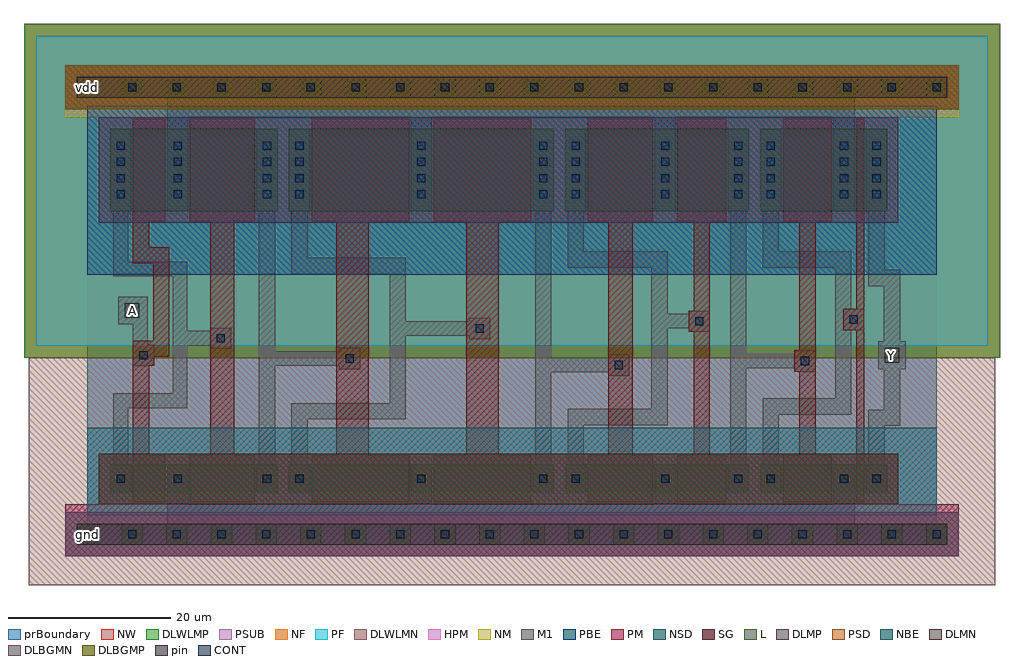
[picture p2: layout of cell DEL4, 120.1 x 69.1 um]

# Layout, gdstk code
import gdstk
lib = gdstk.Library(unit=1e-6, precision=1e-09)
def R(c, l, rs):  # rectangles x0, y0, x1, y1
    for r in rs: c.add(gdstk.rectangle(r[:2], r[2:], *l))
def A(c, l, x, y, w, h, nx, ny, dx, dy):  # array of equal rectangles
    R(c, l, [(x+i*dx, y+j*dy, x+i*dx+w, y+j*dy+h) for i in range(nx) for j in range(ny)])
def P(c, l, *ps):  # polygons
    for p in ps: c.add(gdstk.Polygon(p, *l))
L = (3, 0)
NM = (7, 0)
SG = (8, 0)
PSD = (9, 0)
CONT = (11, 0)
M1 = (13, 0)
NF = (25, 0)
PF = (26, 0)
NSD = (28, 0)
HPM = (33, 0)
PM = (35, 0)
NW = (36, 0)
pin = (48, 1)
PSUB = (140, 0)
PBE = (146, 0)
NBE = (147, 0)
DLWLMP = (150, 0)
DLWLMN = (151, 0)
DLMP = (157, 0)
DLMN = (158, 0)
DLBGMP = (177, 0)
DLBGMN = (178, 0)
prBoundary = (235, 0)

del4 = lib.new_cell('DEL4')
A(del4, L, -1.3, -1.3, 2.6, 2.6, 20, 2, 5.5, 55)
R(del4, L, [(2.8,5.1,23.4,8.5), (24.8,5.1,57.4,8.5), (58.8,5.1,81.4,8.5), (82.8,5.1,98.4,8.5), (2.8,39.7,23.4,49.9), (24.8,39.7,57.4,49.9), (58.8,39.7,81.4,49.9), (82.8,39.7,98.4,49.9)])
R(del4, NM, [(-2.75,-2.7,107.25,2.7)])
P(del4, NM, [(1.4,38.3),(1.4,51.3),(-2.75,51.3),(-2.75,57.7),(107.25,57.7),(107.25,51.3),(99.8,51.3),(99.8,38.3)])
P(del4, SG, [(5.6,3.9),(5.6,23.8),(8.1,23.8),(8.1,33.3),(5.6,33.3),(5.6,51.1),(9.6,51.1),(9.6,38.5),(7.6,38.5),(7.6,35.3),(10.1,35.3),(10.1,21.8),(8.2,21.8),(8.2,20.7),(7.6,20.7),(7.6,9.7),(9.6,9.7),(9.6,3.9)],
  [(12.6,3.9),(12.6,9.7),(15.1,9.7),(15.1,38.5),(12.6,38.5),(12.6,51.1),(20.6,51.1),(20.6,38.5),(18.1,38.5),(18.1,9.7),(20.6,9.7),(20.6,3.9)],
  [(27.6,3.9),(27.6,9.7),(30.6,9.7),(30.6,38.5),(27.6,38.5),(27.6,51.1),(39.6,51.1),(39.6,38.5),(34.6,38.5),(34.6,9.7),(39.6,9.7),(39.6,3.9)],
  [(42.6,3.9),(42.6,9.7),(46.6,9.7),(46.6,38.5),(42.6,38.5),(42.6,51.1),(54.6,51.1),(54.6,38.5),(50.6,38.5),(50.6,9.7),(54.6,9.7),(54.6,3.9)],
  [(61.6,3.9),(61.6,9.7),(64.1,9.7),(64.1,38.5),(61.6,38.5),(61.6,51.1),(69.6,51.1),(69.6,38.5),(67.1,38.5),(67.1,9.7),(69.6,9.7),(69.6,3.9)],
  [(72.6,3.9),(72.6,9.7),(74.6,9.7),(74.6,24.9),(74,24.9),(74,27.5),(74.6,27.5),(74.6,38.5),(72.6,38.5),(72.6,51.1),(78.6,51.1),(78.6,38.5),(76.6,38.5),(76.6,9.7),(78.6,9.7),(78.6,3.9)],
  [(85.6,3.9),(85.6,9.7),(87.6,9.7),(87.6,20),(87,20),(87,22.6),(87.6,22.6),(87.6,38.5),(85.6,38.5),(85.6,51.1),(91.6,51.1),(91.6,38.5),(89.6,38.5),(89.6,9.7),(91.6,9.7),(91.6,3.9)],
  [(94.6,3.9),(94.6,25.1),(93,25.1),(93,27.7),(94.6,27.7),(94.6,51.1),(95.6,51.1),(95.6,3.9)])
R(del4, PSD, [(1.4,3.7,99.8,9.9), (-2.75,52.3,107.25,57.7)])
A(del4, CONT, -0.5, -0.5, 1, 1, 20, 2, 5.5, 55)
A(del4, CONT, 3.6, 41.3, 1, 1, 1, 4, 0, 2)
A(del4, CONT, 21.6, 41.3, 1, 1, 1, 4, 0, 2)
A(del4, CONT, 25.6, 41.3, 1, 1, 1, 4, 0, 2)
A(del4, CONT, 55.6, 41.3, 1, 1, 1, 4, 0, 2)
A(del4, CONT, 59.6, 41.3, 1, 1, 1, 4, 0, 2)
A(del4, CONT, 79.6, 41.3, 1, 1, 1, 4, 0, 2)
A(del4, CONT, 83.6, 41.3, 1, 1, 1, 4, 0, 2)
A(del4, CONT, 96.6, 41.3, 1, 1, 1, 4, 0, 2)
R(del4, CONT, [(3.6,6.3,4.6,7.3), (10.6,6.3,11.6,7.3), (10.6,6.3,11.6,7.3), (21.6,6.3,22.6,7.3), (25.6,6.3,26.6,7.3), (40.6,6.3,41.6,7.3), (40.6,6.3,41.6,7.3), (55.6,6.3,56.6,7.3), (59.6,6.3,60.6,7.3), (70.6,6.3,71.6,7.3), (70.6,6.3,71.6,7.3), (79.6,6.3,80.6,7.3), (83.6,6.3,84.6,7.3), (92.6,6.3,93.6,7.3), (92.6,6.3,93.6,7.3), (96.6,6.3,97.6,7.3), (64.9,20.3,65.9,21.3), (87.8,20.8,88.8,21.8), (31.8,21.1,32.8,22.1), (6.4,21.5,7.4,22.5), (15.9,23.6,16.9,24.6), (47.8,24.8,48.8,25.8), (74.8,25.7,75.8,26.7), (93.8,25.9,94.8,26.9), (10.6,41.3,11.6,42.3), (10.6,41.3,11.6,42.3), (40.6,41.3,41.6,42.3), (40.6,41.3,41.6,42.3), (70.6,41.3,71.6,42.3), (70.6,41.3,71.6,42.3), (92.6,41.3,93.6,42.3), (92.6,41.3,93.6,42.3), (10.6,43.3,11.6,44.3), (10.6,43.3,11.6,44.3), (40.6,43.3,41.6,44.3), (40.6,43.3,41.6,44.3), (70.6,43.3,71.6,44.3), (70.6,43.3,71.6,44.3), (92.6,43.3,93.6,44.3), (92.6,43.3,93.6,44.3), (10.6,45.3,11.6,46.3), (10.6,45.3,11.6,46.3), (40.6,45.3,41.6,46.3), (40.6,45.3,41.6,46.3), (70.6,45.3,71.6,46.3), (70.6,45.3,71.6,46.3), (92.6,45.3,93.6,46.3), (92.6,45.3,93.6,46.3), (10.6,47.3,11.6,48.3), (10.6,47.3,11.6,48.3), (40.6,47.3,41.6,48.3), (40.6,47.3,41.6,48.3), (70.6,47.3,71.6,48.3), (70.6,47.3,71.6,48.3), (92.6,47.3,93.6,48.3), (92.6,47.3,93.6,48.3)])
P(del4, M1, [(-1.3,-1.3),(-1.3,1.3),(9.8,1.3),(9.8,8.5),(12.4,8.5),(12.4,3.7),(39.8,3.7),(39.8,8.5),(42.4,8.5),(42.4,3.7),(69.8,3.7),(69.8,8.5),(72.4,8.5),(72.4,3.7),(91.8,3.7),(91.8,8.5),(94.4,8.5),(94.4,1.3),(105.8,1.3),(105.8,-1.3)],
  [(5.6,20.7),(5.6,25.8),(3.8,25.8),(3.8,29.2),(7.4,29.2),(7.4,23.3),(8.2,23.3),(8.2,20.7)],
  [(2.8,5.1),(2.8,8.5),(3.2,8.5),(3.2,17.3),(10.5,17.3),(10.5,31.7),(3.2,31.7),(3.2,39.7),(2.8,39.7),(2.8,49.9),(5.4,49.9),(5.4,39.7),(5,39.7),(5,33.5),(12.3,33.5),(12.3,25),(15.1,25),(15.1,25.4),(17.7,25.4),(17.7,22.8),(15.1,22.8),(15.1,23.2),(12.3,23.2),(12.3,15.5),(5,15.5),(5,8.5),(5.4,8.5),(5.4,5.1)],
  [(20.8,5.1),(20.8,8.5),(21.1,8.5),(21.1,39.7),(20.8,39.7),(20.8,49.9),(23.4,49.9),(23.4,39.7),(23.1,39.7),(23.1,22.5),(31,22.5),(31,22.9),(33.6,22.9),(33.6,20.3),(31,20.3),(31,20.7),(23.1,20.7),(23.1,8.5),(23.4,8.5),(23.4,5.1)],
  [(24.8,5.1),(24.8,8.5),(25.1,8.5),(25.1,16.1),(37.2,16.1),(37.2,32),(25.1,32),(25.1,39.7),(24.8,39.7),(24.8,49.9),(27.4,49.9),(27.4,39.7),(27.1,39.7),(27.1,34),(39.2,34),(39.2,26.2),(47,26.2),(47,26.6),(49.6,26.6),(49.6,24),(47,24),(47,24.4),(39.2,24.4),(39.2,14.1),(27.1,14.1),(27.1,8.5),(27.4,8.5),(27.4,5.1)],
  [(54.8,5.1),(54.8,8.5),(55.1,8.5),(55.1,39.7),(54.8,39.7),(54.8,49.9),(57.4,49.9),(57.4,39.7),(57.1,39.7),(57.1,21.7),(64.1,21.7),(64.1,22.1),(66.7,22.1),(66.7,19.5),(64.1,19.5),(64.1,19.9),(57.1,19.9),(57.1,8.5),(57.4,8.5),(57.4,5.1)],
  [(58.8,5.1),(58.8,8.5),(59.1,8.5),(59.1,15.4),(69.4,15.4),(69.4,32.8),(59.1,32.8),(59.1,39.7),(58.8,39.7),(58.8,49.9),(61.4,49.9),(61.4,39.7),(61.1,39.7),(61.1,34.8),(71.4,34.8),(71.4,27.1),(74,27.1),(74,27.5),(76.6,27.5),(76.6,24.9),(74,24.9),(74,25.3),(71.4,25.3),(71.4,13.4),(61.1,13.4),(61.1,8.5),(61.4,8.5),(61.4,5.1)],
  [(78.8,5.1),(78.8,8.5),(79.1,8.5),(79.1,39.7),(78.8,39.7),(78.8,49.9),(81.4,49.9),(81.4,39.7),(81.1,39.7),(81.1,22.2),(87,22.2),(87,22.6),(89.6,22.6),(89.6,20),(87,20),(87,20.4),(81.1,20.4),(81.1,8.5),(81.4,8.5),(81.4,5.1)],
  [(82.8,5.1),(82.8,8.5),(83.1,8.5),(83.1,16.7),(92,16.7),(92,32.8),(83.1,32.8),(83.1,39.7),(82.8,39.7),(82.8,49.9),(85.4,49.9),(85.4,39.7),(85.1,39.7),(85.1,34.8),(94,34.8),(94,27.7),(95.6,27.7),(95.6,25.1),(94,25.1),(94,14.7),(85.1,14.7),(85.1,8.5),(85.4,8.5),(85.4,5.1)],
  [(95.8,5.1),(95.8,8.5),(96.1,8.5),(96.1,15.3),(98,15.3),(98,20.3),(97.3,20.3),(97.3,23.7),(98,23.7),(98,30.5),(96.1,30.5),(96.1,39.7),(95.8,39.7),(95.8,49.9),(98.4,49.9),(98.4,39.7),(98.1,39.7),(98.1,32.5),(100,32.5),(100,23.7),(100.7,23.7),(100.7,20.3),(100,20.3),(100,13.3),(98.1,13.3),(98.1,8.5),(98.4,8.5),(98.4,5.1)],
  [(9.8,39.7),(9.8,53.7),(-1.3,53.7),(-1.3,56.3),(105.8,56.3),(105.8,53.7),(94.4,53.7),(94.4,39.7),(91.8,39.7),(91.8,51.3),(72.4,51.3),(72.4,39.7),(69.8,39.7),(69.8,51.3),(42.4,51.3),(42.4,39.7),(39.8,39.7),(39.8,51.3),(12.4,51.3),(12.4,39.7)])
R(del4, NF, [(-6.3,23.2,110.8,61.3)])
R(del4, PF, [(-6.3,23.2,110.8,61.3)])
R(del4, NSD, [(-2.75,-2.7,107.25,2.7), (1.4,38.3,99.8,51.3)])
P(del4, HPM, [(-2.75,-2.7),(-2.75,3.7),(1.4,3.7),(1.4,9.9),(99.8,9.9),(99.8,3.7),(107.25,3.7),(107.25,-2.7)],
  [(1.4,38.3),(1.4,51.3),(-2.75,51.3),(-2.75,57.7),(107.25,57.7),(107.25,51.3),(99.8,51.3),(99.8,38.3)])
R(del4, PM, [(-2.75,52.3,107.25,57.7)])
P(del4, PM, [(-2.75,-2.7),(-2.75,3.7),(1.4,3.7),(1.4,9.9),(99.8,9.9),(99.8,3.7),(107.25,3.7),(107.25,-2.7)])
R(del4, NW, [(-7.8,21.7,112.3,62.8)])
R(del4, pin, [(-1.3,-1.3,105.8,1.3), (98.1,21.1,99.9,22.9), (4.6,26.6,6.4,28.4), (-1.3,53.7,105.8,56.3)])
P(del4, pin, [(0,55),(0,55),(0,55),(0,55)])
R(del4, PSUB, [(-6.3,23.2,110.8,61.3)])
R(del4, PBE, [(0,31.9,104.5,52.7)])
R(del4, NBE, [(0,2.3,104.5,13.1)])
R(del4, DLWLMP, [(-7.8,21.7,112.3,62.8)])
R(del4, DLWLMN, [(-7.2,-6.3,111.7,21.7)])
R(del4, DLMP, [(1.4,38.3,99.8,51.3)])
R(del4, DLMN, [(1.4,3.7,99.8,9.9)])
R(del4, DLBGMP, [(-2.75,52.3,107.25,57.7)])
R(del4, DLBGMN, [(-2.75,-2.7,107.25,2.7)])
R(del4, prBoundary, [(0,0,104.5,55)])
del4.add(gdstk.Label('Y', (99,22), layer=48, texttype=0))
del4.add(gdstk.Label('A', (5.5,27.5), layer=48, texttype=0))
del4.add(gdstk.Label('vdd', (0,55), layer=48, texttype=0))
del4.add(gdstk.Label('A', (5.5,27.5), layer=48, texttype=0))
del4.add(gdstk.Label('vdd', (0,55), layer=48, texttype=0))
del4.add(gdstk.Label('gnd', (0,0), layer=48, texttype=0))

lib.write_gds('DEL4.gds')
